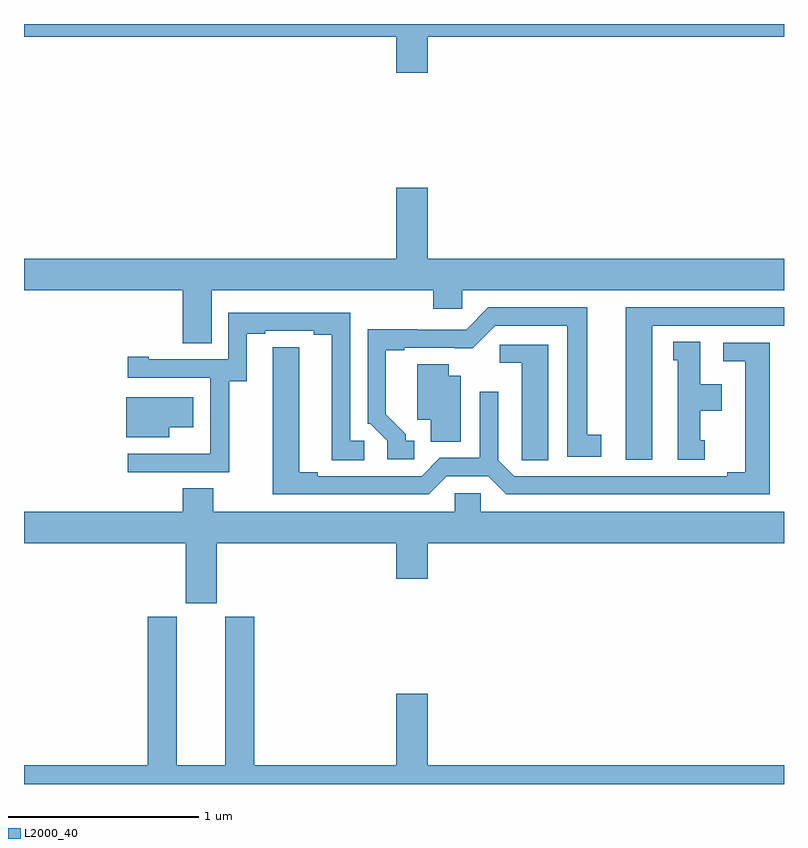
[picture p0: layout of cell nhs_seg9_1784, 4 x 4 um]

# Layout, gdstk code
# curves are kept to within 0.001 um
import gdstk
lib = gdstk.Library(unit=1e-6, precision=1e-09)
def P(c, l, *ps):  # polygons
    for p in ps: c.add(gdstk.Polygon(p, *l))
L2000_40 = (2000, 40)

nhs_seg9_1784 = lib.new_cell('nhs_seg9_1784')
P(nhs_seg9_1784, L2000_40, [(213.124,1184.432),(215,1184.432),(215,1184.5),(211,1184.5),(211,1184.432),(212.96,1184.432),(212.96,1184.244),(213.124,1184.244)],
  [(211.987,1183.1),(213.155,1183.1),(213.155,1183.002),(213.306,1183.002),(213.306,1183.1),(215,1183.1),(215,1183.264),(213.124,1183.264),(213.124,1183.639),(212.96,1183.639),(212.96,1183.264),(211,1183.264),(211,1183.1),(211.835,1183.1),(211.835,1182.82),(211.987,1182.82)],
  [(214.306,1182.912),(215,1182.912),(215,1183.008),(214.166,1183.008),(214.166,1182.207),(214.306,1182.207)],
  [(213.055,1182.306),(213.01,1182.306),(213.01,1182.341),(212.905,1182.446),(212.905,1182.783),(213.001,1182.783),(213.001,1182.795),(213.362,1182.794),(213.48,1182.912),(213.86,1182.912),(213.86,1182.222),(214.039,1182.222),(214.039,1182.338),(213.964,1182.338),(213.964,1183.008),(213.444,1183.008),(213.327,1182.891),(213.071,1182.891),(213.071,1182.893),(212.808,1182.893),(212.808,1182.396),(212.823,1182.396),(212.913,1182.306),(212.913,1182.21),(213.055,1182.21)],
  [(212.079,1182.619),(212.173,1182.619),(212.173,1182.87),(212.269,1182.87),(212.269,1182.885),(212.525,1182.885),(212.525,1182.865),(212.621,1182.865),(212.621,1182.205),(212.791,1182.205),(212.791,1182.306),(212.718,1182.306),(212.718,1182.981),(212.076,1182.981),(212.076,1182.735),(211.657,1182.735),(211.657,1182.748),(211.545,1182.748),(211.545,1182.639),(211.98,1182.639),(211.98,1182.238),(211.979,1182.238),(211.979,1182.237),(211.545,1182.237),(211.545,1182.141),(212.079,1182.141)],
  [(214.582,1182.309),(214.558,1182.309),(214.558,1182.464),(214.672,1182.464),(214.672,1182.604),(214.558,1182.604),(214.558,1182.827),(214.418,1182.827),(214.418,1182.729),(214.442,1182.729),(214.442,1182.207),(214.582,1182.207)],
  [(213.225,1182.12),(213.443,1182.12),(213.539,1182.024),(214.924,1182.024),(214.924,1182.822),(214.68,1182.822),(214.68,1182.726),(214.796,1182.726),(214.796,1182.14),(214.7,1182.14),(214.7,1182.12),(213.579,1182.12),(213.495,1182.204),(213.495,1182.565),(213.399,1182.565),(213.399,1182.216),(213.189,1182.216),(213.093,1182.12),(212.545,1182.12),(212.545,1182.14),(212.449,1182.14),(212.449,1182.8),(212.31,1182.8),(212.309,1182.024),(213.129,1182.024)],
  [(213.76,1182.813),(213.504,1182.813),(213.504,1182.716),(213.62,1182.716),(213.62,1182.313),(213.621,1182.313),(213.621,1182.205),(213.76,1182.205)],
  [(213.298,1182.649),(213.235,1182.649),(213.235,1182.71),(213.071,1182.71),(213.071,1182.416),(213.14,1182.416),(213.14,1182.301),(213.298,1182.301)],
  [(211.765,1182.377),(211.891,1182.377),(211.891,1182.535),(211.538,1182.535),(211.538,1182.326),(211.765,1182.326)],
  [(212.014,1181.768),(212.96,1181.768),(212.96,1181.58),(213.124,1181.58),(213.124,1181.768),(215,1181.768),(215,1181.932),(213.405,1181.932),(213.405,1182.03),(213.267,1182.03),(213.267,1181.932),(211.995,1181.932),(211.995,1182.056),(211.835,1182.056),(211.835,1181.932),(211,1181.932),(211,1181.768),(211.85,1181.768),(211.85,1181.451),(212.014,1181.451)],
  [(215,1180.6),(213.124,1180.6),(213.124,1180.975),(212.96,1180.975),(212.96,1180.6),(212.213,1180.6),(212.213,1181.379),(212.06,1181.379),(212.06,1180.6),(211.804,1180.6),(211.804,1181.379),(211.652,1181.379),(211.652,1180.6),(211,1180.6),(211,1180.5),(215,1180.5)])

lib.write_gds('nhs_seg9_1784.gds')
